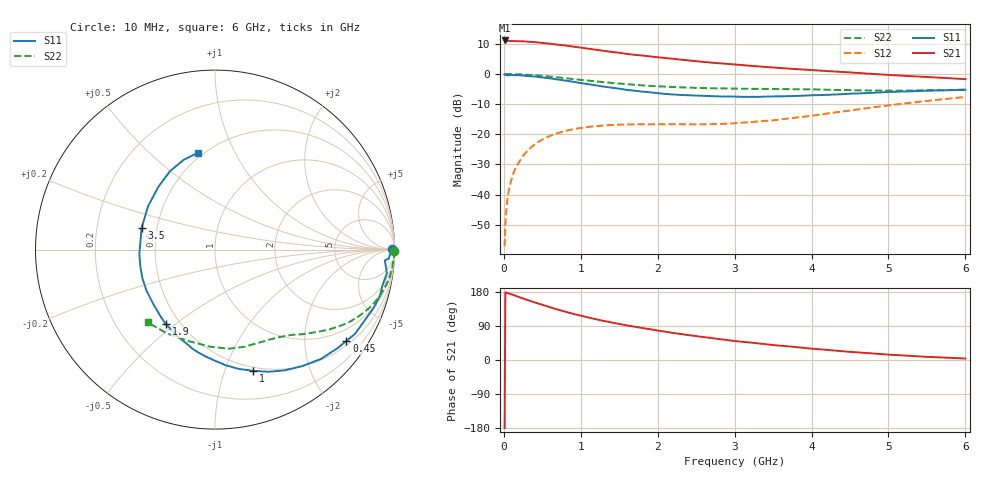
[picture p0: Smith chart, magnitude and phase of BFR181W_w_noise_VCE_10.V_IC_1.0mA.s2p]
! Infineon Technologies  Discrete & RF Semiconductors
! BFR181W
! VCE =  10. V,  IC =  1.0 mA
! Common Emitter S-Parameters:  Jan 2017
# GHz  S  MA  R  50
!  f  S11  S21  S12  S22
! GHz  MAG  ANG  MAG  ANG  MAG  ANG  MAG  ANG
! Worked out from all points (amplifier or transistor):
!   77 points, 10 MHz to 6 GHz, reference 50 ohm
!   highest |S21| = 11.1 dB at 10 MHz (marker M1)
!   |S21| within 3 dB of that: start of sweep to 1.175 GHz
!   unconditionally stable (mu >= 1): 2.346 GHz to 4.368 GHz
!   at 130 MHz: K = 0.05, MSG = 21.7 dB, |S12| = -32.6 dB
!   at 2.2 GHz: K = 0.95, MSG = 10.8 dB, |S12| = -16.6 dB
!   at 6 GHz: K = 0.84, MSG = 3.0 dB, |S12| = -7.6 dB
!   lowest NFmin = 0.87 dB at 450 MHz
!   S11 on the Smith chart (normalised r, x): 10 MHz: open; 450 MHz: 0.62, -3.08; 1 GHz: 0.46, -1.26; 1.9 GHz: 0.42, -0.46; 3.5 GHz: 0.41, +0.12; 6 GHz: 0.47, +0.72
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0.01  0.9849 0.1  3.599 -179.6  0.0014 95.4  1 -0.4
0.02  0.9691 -3.0  3.579 178.6  0.0032 98.0  0.9984 -0.7
0.04  0.955 -3.4  3.556 177.3  0.0071 90.2  0.9989 -1.6
0.07  0.9549 -5.3  3.533 175.3  0.0126 85.8  0.9971 -2.8
0.12  0.9611 -9.5  3.517 171.8  0.0217 83.0  0.9934 -4.8
0.25  0.9429 -19.9  3.482 162.3  0.0439 77.1  0.9816 -10.0
0.45  0.8916 -34.8  3.322 148.9  0.0748 67.2  0.9424 -17.4
0.6  0.8483 -45.9  3.18 139.3  0.0943 60.6  0.906 -22.3
0.7  0.8113 -53.1  3.065 133.0  0.1047 57.0  0.8792 -25.3
0.8  0.7783 -59.7  2.967 127.4  0.1139 53.4  0.8524 -28.1
1  0.7083 -72.5  2.739 116.9  0.1276 47.1  0.7997 -32.8
1.1  0.6774 -78.8  2.629 112.1  0.1329 44.7  0.7776 -34.9
1.3  0.6177 -90.3  2.42 103.0  0.14 40.3  0.7323 -38.7
1.5  0.5712 -101.8  2.247 95.1  0.1448 37.2  0.6953 -42.2
1.9  0.4977 -123.4  1.958 81.3  0.1464 34.3  0.6363 -48.4
2.1  0.4676 -133.8  1.84 74.6  0.147 34.2  0.6176 -51.4
2.6  0.4352 -158.3  1.585 60.4  0.1466 37.4  0.5841 -59.3
3.1  0.419 179.6  1.405 48.1  0.156 43.8  0.5699 -66.9
3.5  0.4262 163.8  1.282 39.5  0.1705 49.7  0.5658 -73.2
4.1  0.4472 144.0  1.141 28.4  0.2118 54.7  0.5525 -84.3
5.1  0.5078 117.5  0.95 13.0  0.3126 53.7  0.5297 -109.0
6  0.5473 100.2  0.823 3.8  0.4159 45.7  0.5521 -132.7
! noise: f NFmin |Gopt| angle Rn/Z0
0.45  0.87  0.69  18  0.51
0.9  0.95  0.64  36  0.47
1.9  1.56  0.44  83  0.32
2.4  1.81  0.38  99  0.34
